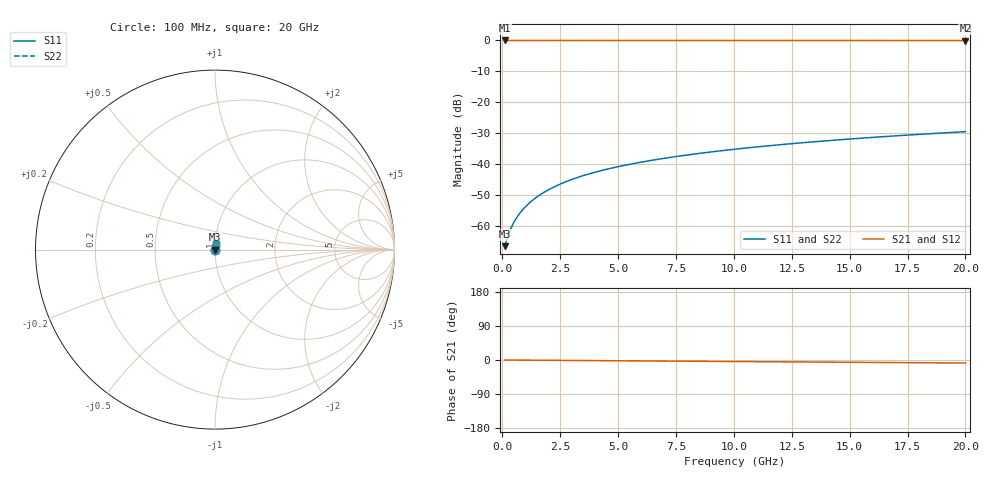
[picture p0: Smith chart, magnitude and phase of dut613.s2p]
! Touchstone file exported from HFSS 2026.1.0
!  File:  C:/ffzhzh/LocalFiles/Ansys_Project_Files/temp_train_TSV_613_1783025718_46388.aedt
!  Generated:  04:57:15 AM Jul  3, 2026
!  Design:  TSV
!  Project:  temp_train_TSV_613_1783025718_46388
! Variables:
!  h_bsmrdl = 2um
!  h_ox = 20um
!  h_rdl = 5um
!  h_sub = 80.84um
!  h_tmrdl = 5um
!  h_tsv = 80.84um
!  h_via = 3um
!  l_bsmrdl = 300um
!  l_sub = 409.92um
!  l_tmrdl = 200um
!  m_sub = 200um
!  pitch = 28.04um
!  r_tsv = 4.96um
!  s_tmrdl = 10um
!  w_bsmrdl = 18um
!  w_sub = 500um
!  w_tmrdl = 12um
!  x_tsv_center1 = 206um
!  x_tsv_center2 = 524um
!  x_tsv_center3 = 736um
!  x_tsv_center4 = 1054um
!  x_tsv_center5 = 1266um
!  x_tsv_center6 = 1584um
# GHz S MA R 50.000000
! Terminal data exported
! Port[1] = TSV1_1_T1
! Port[2] = TSV1_1_T2
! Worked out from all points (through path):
!   200 points, 100 MHz to 20 GHz, reference 50 ohm
!   highest |S21| = 0.00 dB at 100 MHz (marker M1); lowest = 0.0 dB at 20 GHz (marker M2)
!   group delay of S21, straight-line fit = 1.11 ps
!   lowest |S11| = -66.7 dB at 100 MHz (marker M3), VSWR 1.00, Z = 50 + j0.0214 ohm
!   |S11| at or under -10 dB: start of sweep to end of sweep
!   |S22| runs from -66.7 to -29.6 dB; largest |S21 - S12| = 4.5e-15
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0.1  0.0004626 27.5  0.9996 -0.0  0.9996 -0.0  0.0004626 27.5
! Gamma 0 0 0 0
! Port Impedance 50 0 50 0
0.3  0.0007666 54.7  0.9996 -0.1  0.9996 -0.1  0.0007666 54.7
0.4  0.0009441 60.6  0.9995 -0.2  0.9995 -0.2  0.0009441 60.6
0.5  0.001124 64.4  0.9995 -0.2  0.9995 -0.2  0.001124 64.4
0.6  0.001303 67.2  0.9995 -0.3  0.9995 -0.3  0.001303 67.2
0.8  0.00166 71.0  0.9995 -0.3  0.9995 -0.3  0.00166 71.0
1  0.002018 73.4  0.9994 -0.4  0.9994 -0.4  0.002018 73.4
1.2  0.002375 75.2  0.9994 -0.5  0.9994 -0.5  0.002375 75.2
1.4  0.002734 76.5  0.9994 -0.6  0.9994 -0.6  0.002734 76.5
1.7  0.003272 77.8  0.9993 -0.7  0.9993 -0.7  0.003272 77.8
2.2  0.004165 79.2  0.9993 -0.9  0.9993 -0.9  0.004165 79.2
2.8  0.005225 80.0  0.9992 -1.1  0.9992 -1.1  0.005225 80.0
3.5  0.006444 80.5  0.9991 -1.4  0.9991 -1.4  0.006444 80.5
4.2  0.007643 80.7  0.999 -1.7  0.999 -1.7  0.007643 80.7
5  0.008993 80.9  0.9988 -2.0  0.9988 -2.0  0.008993 80.9
5.9  0.01049 80.9  0.9987 -2.4  0.9987 -2.4  0.01049 80.9
6.8  0.01198 80.9  0.9986 -2.8  0.9986 -2.8  0.01198 80.9
8.3  0.01443 80.8  0.9984 -3.3  0.9984 -3.3  0.01443 80.8
10.1  0.01735 80.6  0.9982 -4.1  0.9982 -4.1  0.01735 80.6
13.4  0.02268 80.0  0.9979 -5.4  0.9979 -5.4  0.02268 80.0
16.7  0.02797 79.1  0.9976 -6.7  0.9976 -6.7  0.02797 79.1
20  0.0332 78.1  0.9972 -8.0  0.9972 -8.0  0.0332 78.1
